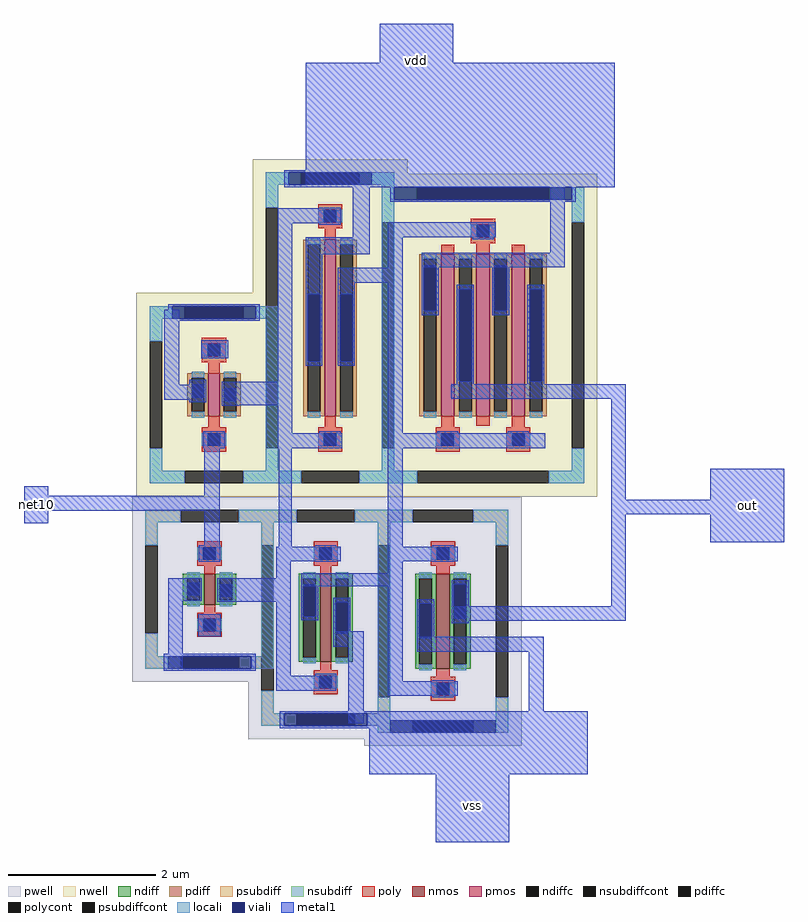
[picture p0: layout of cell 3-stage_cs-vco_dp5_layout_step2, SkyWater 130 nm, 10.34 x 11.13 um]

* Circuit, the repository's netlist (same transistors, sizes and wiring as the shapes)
* NGSPICE file created from 3-stage_cs-vco_dp5_layout_step2.ext - technology: sky130A

.subckt sky130_fd_pr__pfet_01v8_9P8X3X a_n173_n220# a_18_n220# a_114_n220# a_n129_n317#
+ a_63_n317# w_n311_n439# a_n33_251# a_n78_n220#
X0 a_114_n220# a_63_n317# a_18_n220# w_n311_n439# sky130_fd_pr__pfet_01v8 ad=6.49e+11p pd=4.99e+06u as=6.6e+11p ps=5e+06u w=2.2e+06u l=180000u
X1 a_n78_n220# a_n129_n317# a_n173_n220# w_n311_n439# sky130_fd_pr__pfet_01v8 ad=6.6e+11p pd=5e+06u as=6.49e+11p ps=4.99e+06u w=2.2e+06u l=180000u
X2 a_18_n220# a_n33_251# a_n78_n220# w_n311_n439# sky130_fd_pr__pfet_01v8 ad=0p pd=0u as=0p ps=0u w=2.2e+06u l=180000u
.ends

.subckt sky130_fd_pr__pfet_01v8_V5LP55 a_15_n240# w_n211_n459# a_n73_n240# a_n33_n337#
X0 a_15_n240# a_n33_n337# a_n73_n240# w_n211_n459# sky130_fd_pr__pfet_01v8 ad=6.96e+11p pd=5.38e+06u as=6.96e+11p ps=5.38e+06u w=2.4e+06u l=150000u
.ends

.subckt sky130_fd_pr__nfet_01v8_86PVFD a_n73_n120# a_15_n120# w_n211_n330# a_n33_n208#
X0 a_15_n120# a_n33_n208# a_n73_n120# w_n211_n330# sky130_fd_pr__nfet_01v8 ad=3.48e+11p pd=2.98e+06u as=3.48e+11p ps=2.98e+06u w=1.2e+06u l=150000u
.ends

.subckt sky130_fd_pr__nfet_01v8_Q665WF a_n33_n217# a_n76_n129# a_18_n129# w_n214_n339#
X0 a_18_n129# a_n33_n217# a_n76_n129# w_n214_n339# sky130_fd_pr__nfet_01v8 ad=3.741e+11p pd=3.16e+06u as=3.741e+11p ps=3.16e+06u w=1.29e+06u l=180000u
.ends

.subckt sky130_fd_pr__pfet_01v8_NCD769 w_n211_n277# a_15_n58# a_n73_n58# a_n33_n155#
X0 a_15_n58# a_n33_n155# a_n73_n58# w_n211_n277# sky130_fd_pr__pfet_01v8 ad=1.682e+11p pd=1.74e+06u as=1.682e+11p ps=1.74e+06u w=580000u l=150000u
.ends

.subckt sky130_fd_pr__nfet_01v8_D7TJRJ a_n33_n130# a_15_n42# a_n73_n42# w_n211_n252#
X0 a_15_n42# a_n33_n130# a_n73_n42# w_n211_n252# sky130_fd_pr__nfet_01v8 ad=1.218e+11p pd=1.42e+06u as=1.218e+11p ps=1.42e+06u w=420000u l=150000u
.ends

.subckt x3-stage_cs-vco_dp5_layout_step2 vdd vss out
XXM23 vdd vdd out m1_554_n2# m1_554_n2# vdd m1_554_n2# out sky130_fd_pr__pfet_01v8_9P8X3X
XXM12 m1_554_n2# vdd vdd m1_326_n44# sky130_fd_pr__pfet_01v8_V5LP55
XXM13 m1_554_n2# vss vss m1_326_n44# sky130_fd_pr__nfet_01v8_86PVFD
XXM24 m1_554_n2# vss out vss sky130_fd_pr__nfet_01v8_Q665WF
XXM21 vdd m1_326_n44# vdd net10 sky130_fd_pr__pfet_01v8_NCD769
XXM22 net10 m1_326_n44# vss vss sky130_fd_pr__nfet_01v8_D7TJRJ
.ends

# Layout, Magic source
magic
tech sky130A
magscale 1 2
<< pwell >>
rect 752 -210 792 -166
rect 682 -264 688 -252
<< metal1 >>
rect 768 1422 968 1528
rect 566 1084 1408 1422
rect 490 986 654 1026
rect 182 546 222 750
rect 282 618 356 668
rect 490 554 530 986
rect 695 947 741 1084
rect 566 901 741 947
rect 790 948 1084 988
rect 566 800 612 901
rect 790 864 830 948
rect 1232 906 1272 1084
rect 882 866 1272 906
rect 654 824 830 864
rect 654 802 700 824
rect 182 506 294 546
rect 338 490 530 554
rect 490 414 530 490
rect 790 414 830 824
rect 962 508 1438 548
rect -200 244 -134 270
rect 290 244 332 414
rect 490 374 666 414
rect 790 374 1218 414
rect -200 204 332 244
rect -200 170 -134 204
rect 290 70 332 204
rect 493 106 528 374
rect 790 106 830 374
rect 1398 234 1438 508
rect 1668 234 1868 318
rect 1398 194 1868 234
rect 486 66 662 106
rect 790 66 980 106
rect 486 20 526 66
rect 790 34 830 66
rect 192 -42 284 20
rect 192 -232 232 -42
rect 326 -44 526 20
rect 554 -2 830 34
rect 274 -138 336 -78
rect 486 -246 526 -44
rect 642 -166 724 -124
rect 486 -286 644 -246
rect 682 -375 724 -166
rect 790 -260 830 -2
rect 1398 -56 1438 194
rect 1668 118 1868 194
rect 970 -96 1438 -56
rect 870 -180 1214 -140
rect 790 -300 980 -260
rect 1174 -342 1214 -180
rect 740 -514 1334 -342
rect 920 -698 1120 -514
use sky130_fd_pr__pfet_01v8_V5LP55  XM12
transform 1 0 633 0 1 701
box -211 -459 211 459
use sky130_fd_pr__nfet_01v8_Q665WF  XM24
transform 1 0 940 0 1 -97
box -214 -339 214 339
use sky130_fd_pr__nfet_01v8_86PVFD  XM13
transform 1 0 621 0 1 -88
box -211 -330 211 330
use sky130_fd_pr__nfet_01v8_D7TJRJ  XM22
transform 1 0 305 0 1 -10
box -211 -252 211 252
use sky130_fd_pr__pfet_01v8_NCD769  XM21
transform 1 0 317 0 1 519
box -211 -277 211 277
use sky130_fd_pr__pfet_01v8_9P8X3X  XM23
transform 1 0 1049 0 1 681
box -311 -439 311 439
<< labels >>
flabel metal1 1668 118 1868 318 0 FreeSans 256 0 0 0 out
port 2 nsew
flabel metal1 768 1328 968 1528 0 FreeSans 256 0 0 0 vdd
port 0 nsew
flabel metal1 920 -698 1120 -498 0 FreeSans 256 0 0 0 vss
port 1 nsew
rlabel metal1 -200 170 -134 270 5 net10
<< end >>

# cell sky130_fd_pr__pfet_01v8_V5LP55: kit device sky130_fd_pr__pfet_01v8, w 2.4 l 0.15 m 1 nf 1 diffcov 100 polycov 100 guard 1 glc 1 grc 0 gtc 1 gbc 1 tbcov 100 rlcov 100 topc 1 botc 1 poverlap 0 doverlap 1 lmin 0.15 wmin 0.42 compatible {sky130_fd_pr__pfet_01v8 sky130_fd_pr__pfet_01v8_lvt sky130_fd_pr__pfet_01v8_hvt sky130_fd_pr__pfet_g5v0d10v5} full_metal 1 viasrc 40 viadrn 40 viagate 100 viagb 0 viagr 0 viagl 0 viagt 80

# cell sky130_fd_pr__nfet_01v8_Q665WF: kit device sky130_fd_pr__nfet_01v8, w 1.29 l 0.18 m 1 nf 1 diffcov 100 polycov 100 guard 1 glc 1 grc 1 gtc 1 gbc 1 tbcov 100 rlcov 100 topc 1 botc 1 poverlap 0 doverlap 1 lmin 0.15 wmin 0.42 compatible {sky130_fd_pr__nfet_01v8 sky130_fd_pr__nfet_01v8_lvt sky130_fd_bs_flash__special_sonosfet_star sky130_fd_pr__nfet_g5v0d10v5 sky130_fd_pr__nfet_05v0_nvt sky130_fd_pr__nfet_03v3_nvt} full_metal 1 viasrc -40 viadrn 40 viagate 100 viagb 100 viagr 0 viagl 0 viagt 0

# cell sky130_fd_pr__nfet_01v8_86PVFD: kit device sky130_fd_pr__nfet_01v8, w 1.2 l 0.150 m 1 nf 1 diffcov 100 polycov 100 guard 1 glc 1 grc 0 gtc 1 gbc 1 tbcov 100 rlcov 100 topc 1 botc 1 poverlap 0 doverlap 1 lmin 0.15 wmin 0.42 compatible {sky130_fd_pr__nfet_01v8 sky130_fd_pr__nfet_01v8_lvt sky130_fd_bs_flash__special_sonosfet_star sky130_fd_pr__nfet_g5v0d10v5 sky130_fd_pr__nfet_05v0_nvt sky130_fd_pr__nfet_03v3_nvt} full_metal 1 viasrc 40 viadrn -40 viagate 100 viagb 80 viagr 0 viagl 0 viagt 0

# cell sky130_fd_pr__nfet_01v8_D7TJRJ: kit device sky130_fd_pr__nfet_01v8, w 0.42 l 0.150 m 1 nf 1 diffcov 100 polycov 100 guard 1 glc 1 grc 0 gtc 1 gbc 1 tbcov 100 rlcov 100 topc 1 botc 1 poverlap 0 doverlap 1 lmin 0.15 wmin 0.42 compatible {sky130_fd_pr__nfet_01v8 sky130_fd_pr__nfet_01v8_lvt sky130_fd_bs_flash__special_sonosfet_star sky130_fd_pr__nfet_g5v0d10v5 sky130_fd_pr__nfet_05v0_nvt sky130_fd_pr__nfet_03v3_nvt} full_metal 1 viasrc -40 viadrn 40 viagate 100 viagb 80 viagr 0 viagl 0 viagt 0

# cell sky130_fd_pr__pfet_01v8_NCD769: kit device sky130_fd_pr__pfet_01v8, w 0.58 l 0.15 m 1 nf 1 diffcov 100 polycov 100 guard 1 glc 1 grc 0 gtc 1 gbc 1 tbcov 100 rlcov 100 topc 1 botc 1 poverlap 0 doverlap 1 lmin 0.15 wmin 0.42 compatible {sky130_fd_pr__pfet_01v8 sky130_fd_pr__pfet_01v8_lvt sky130_fd_pr__pfet_01v8_hvt sky130_fd_pr__pfet_g5v0d10v5} full_metal 1 viasrc 40 viadrn -40 viagate 100 viagb 0 viagr 0 viagl 0 viagt 80

# cell sky130_fd_pr__pfet_01v8_9P8X3X: kit device sky130_fd_pr__pfet_01v8, w 2.1999999999999997 l 0.18 m 1 nf 3 diffcov 100 polycov 100 guard 1 glc 1 grc 1 gtc 1 gbc 1 tbcov 100 rlcov 100 topc 1 botc 1 poverlap 0 doverlap 1 lmin 0.15 wmin 0.42 compatible {sky130_fd_pr__pfet_01v8 sky130_fd_pr__pfet_01v8_lvt sky130_fd_pr__pfet_01v8_hvt sky130_fd_pr__pfet_g5v0d10v5} full_metal 1 viasrc 60 viadrn -30 viagate 100 viagb 0 viagr 0 viagl 0 viagt 100
